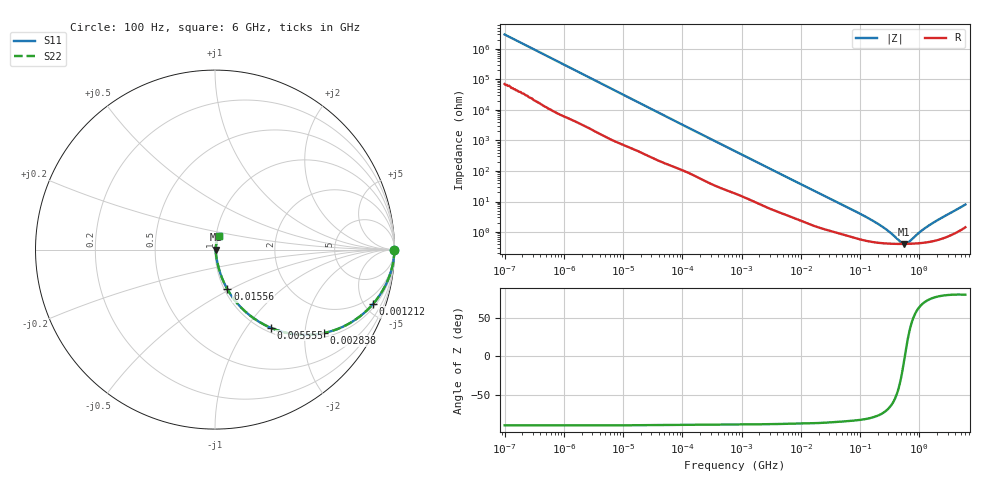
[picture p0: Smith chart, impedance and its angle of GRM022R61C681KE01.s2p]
!Murata Part Number: GRM022R61C681KE01
!These Parameters are Measured in Series Mode Connection
!Data Generated on Mar 30, 2021
!  o--ll--o
!Port1  Port2
!  o------o
!Operation Temp=25[degC], DC Bias Voltage=0[V]
!Freq. Start=100[Hz] Stop=6[GHz] 401[Steps]
# Hz S RI R 50
!Freq.(Hz) S11(Real) S11(Imag) S21(Real) S21(Imag) S12(Real) S12(Imag) S22(Real) S22(Imag)
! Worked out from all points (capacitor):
!   401 points, 100 Hz to 6 GHz, reference 50 ohm
!   read as one part in series: C = 532 pF near 109 Hz
!   lowest |Z| = 409 mohm at 559.2 MHz (marker M1)
!   series resonance near 569.5 MHz, so ESL is about 150 pH
!   S11 on the Smith chart (normalised r, x): 100 Hz: open; 1.212 MHz: 1.26, -5.74; 2.838 MHz: 1.12, -2.51; 5.555 MHz: 1.07, -1.31; 15.56 MHz: 1.03, -0.48; 6 GHz: 1.03, +0.16
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100  1 -3.36e-05  8e-07 3.36e-05  8e-07 3.36e-05  1 -3.36e-05
306  1 -0.000101  2.2e-06 0.000101  2.2e-06 0.000101  1 -0.000101
2008  1 -0.000648  1.44e-05 0.000648  1.44e-05 0.000648  1 -0.000648
40335  0.9995 -0.0125  0.00049 0.0125  0.00049 0.0125  0.9995 -0.0125
231233  0.993 -0.0684  0.00704 0.0684  0.00704 0.0684  0.993 -0.0684
774597  0.9437 -0.2107  0.0563 0.2107  0.0563 0.2107  0.9437 -0.2107
1212075  0.8812 -0.302  0.1188 0.302  0.1188 0.302  0.8812 -0.302
1813585  0.7798 -0.392  0.2202 0.392  0.2202 0.392  0.7798 -0.392
2837864  0.6068 -0.4648  0.3932 0.4648  0.3932 0.4648  0.6068 -0.4648
5554849  0.3096 -0.4351  0.6904 0.4351  0.6904 0.4351  0.3096 -0.4351
9090158  0.1569 -0.3341  0.8431 0.3341  0.8431 0.3341  0.1569 -0.3341
1.555665e7  0.069 -0.2212  0.931 0.2212  0.931 0.2212  0.069 -0.2212
3.80911e7  0.0196 -0.0986  0.9804 0.0986  0.9804 0.0986  0.0196 -0.0986
1.220122e8  0.0062 -0.0316  0.9938 0.0316  0.9938 0.0316  0.0062 -0.0316
2.088084e8  0.00468 -0.017  0.9953 0.017  0.9953 0.017  0.00468 -0.017
3.124326e8  0.00422 -0.00919  0.9958 0.00919  0.9958 0.00919  0.00422 -0.00919
4.888888e8  0.00406 -0.00221  0.9959 0.00221  0.9959 0.00221  0.00406 -0.00221
5.59173e8  0.00406 -0.00026  0.9959 0.00026  0.9959 0.00026  0.00406 -0.00026
6.688484e8  0.0041 0.00234  0.9959 -0.00234  0.9959 -0.00234  0.0041 0.00234
1.046602e9  0.0044 0.00935  0.9956 -0.00935  0.9956 -0.00935  0.0044 0.00935
1.565993e9  0.00511 0.0172  0.9949 -0.0172  0.9949 -0.0172  0.00511 0.0172
6e9  0.02 0.076  0.98 -0.076  0.98 -0.076  0.02 0.076
